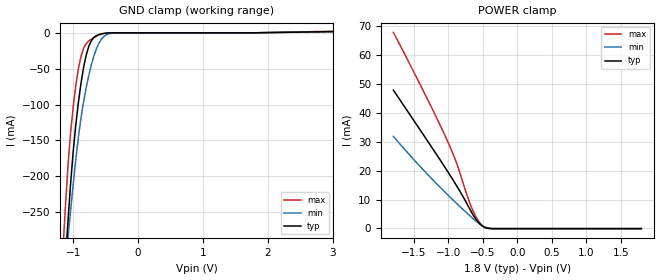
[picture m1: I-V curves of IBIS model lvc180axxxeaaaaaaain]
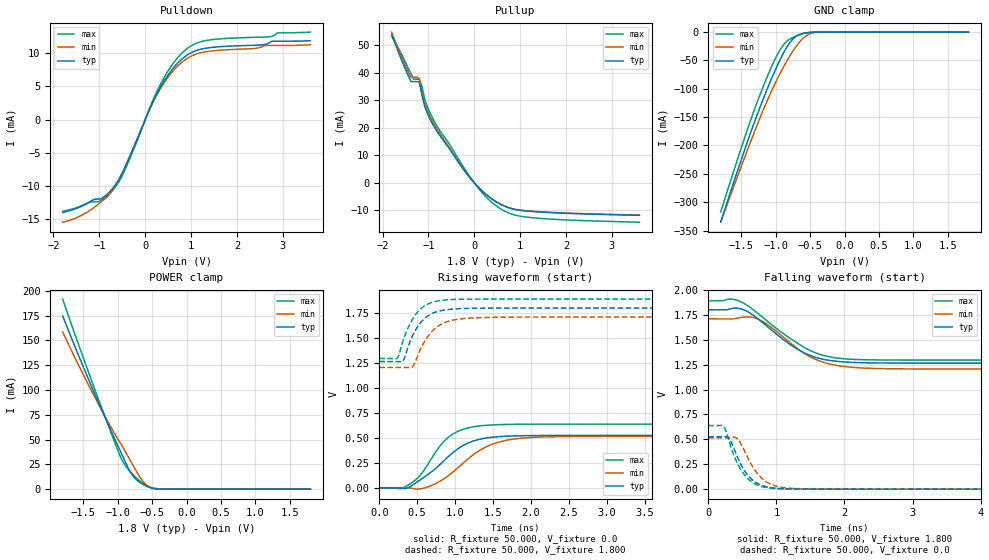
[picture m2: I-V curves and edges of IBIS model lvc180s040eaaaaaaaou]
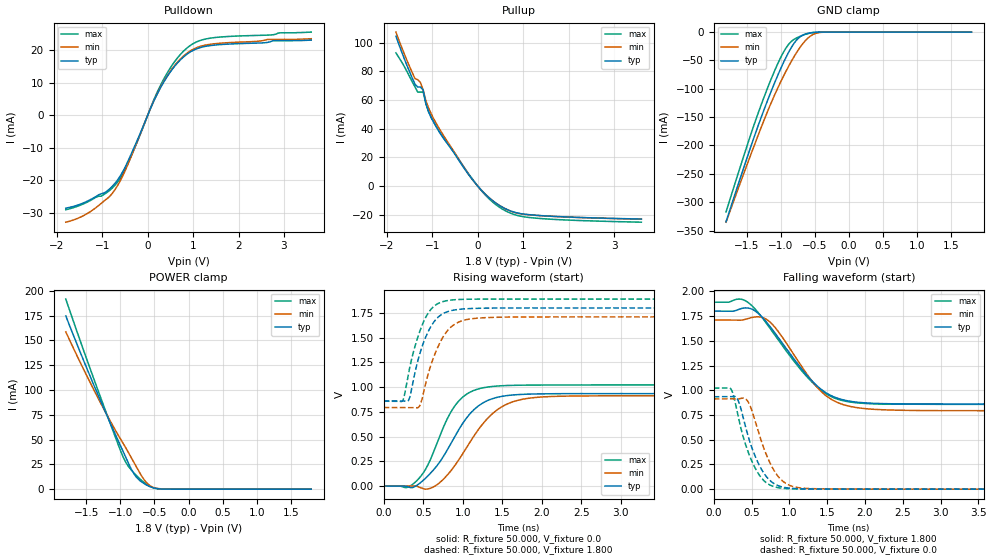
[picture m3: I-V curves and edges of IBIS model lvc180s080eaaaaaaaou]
| IBIS Models Generator: Lattice Diamond (64-bit) 3.14.0.75.2
| Generate date: Fri Feb 06 05:13:00 2026
| IBIS File
| Lattice Semiconductor Corporation
[IBIS ver]   4.2
[File Name]   AICAM_impl1.ibs
[File Rev]   2.9
[Date]   Thu Jul 29 08:12:20 PDT 2021
[Source]   Lattice Semiconductor umc40lp Process
   LFE5U-25F   FINAL
   Lattice Semiconductor has worked hard to ensure the
   models below are accurate and complete.  However, the
   data below was generated using simulation of the
   input/output model files for the silicon.  Therefore,
   the data below is for reference and initial design
   purposes only.
   Lattice Semiconductor grants permission to use this
   data for use in printed circuit design using this
   Lattice programmable logic device.  Other use of this
   code, including the selling or duplication of any
   portion is strictly prohibited.
|   NAMING CONVENTION
   The IBIS [Model] header is limited by the specification to a
   total of characters.  With such a set of characters available
   for naming models it becomes important to attempt to
   meaningfully encode the IO standards so they fit within the
   twenty character limit.  It would seem that twenty characters
   would provide room enough for describing IO's.  However, the
   PLD IO structure continues to grow more and more complex.  The
   complexity is making the twenty characters insuffiently
   descriptive.  In order to overcome this issue the naming
   convention described below is implemented to resolve the issue.
The twenty character space is managed as follows:
   bbbvvvsdddprttaaoixx
   b = standard
   v = voltage (x.xx V)
   s = slew code
   d = drive (xx.x ma)
   p = pullmode code
   r = impedance
   t = termination code
   o = diff resistor code
   i = diff  current code
   x = reserved
   standard
   LVCMOS   lvc
   lvcmosd   lvd
   LVDS25e   lve
   LVTTL   lvt
   lvttld   ltd
   sstl_I   ss1
   sstl_II   ss2
   sstld_I   s1d
   sstld_II   s2d
   hsul12   hs1
   hsul12d   h1d
   lvds   lvs
   blvds25   blv
   blvds25e   blv
   mlvds   mlv
   mlvds25e   mle
   lvpecl33   lvp
   lvpecl33e   lvp
   sublvds   slv
   slvs   svs
   slvs15e   sve
   mipi   mip
   vref1   vr1
   slew
   na   a
   fast   f
   slow   s
   pullmode
   off   a
   clamp   e
   impedance
   off   a
   termination
   off   aa
   50   cc
   75   dd
   150   ee
   differential resistor
   off   a
   100   b
   differential current
   NA   a
   3.5   c
   Reserved   IO type
   in   input only
   ou   output
   io   I/O
   od   Open drain
   on   Inverting differential I/O
   (signal name only)
   op   Non-Inverting differential I/O
   (signal name only)
   All the IO models are generated with pull mode set to none.
   Lattice Semiconductor Corporation
   5555 NE Moore Court
   Hillsboro, OR 97214
   U.S.A
   TEL: 1-800-Lattice (USA and Canada)
   408-826-6000 (other locations)
   web: http://www.latticesemi.com/
   email: techsupport@latticesemi.com
The IBIS models by default includes the worst case package data
under [package].  If detailed package model is required , it can be
enable using [package model] keyword.
The .pkg files are included in the zip file with the IBIS models.
The .pkg file has to be located in the same directory as IBIS file.
[Disclaimer] This IBIS source code is intended as a design reference
   which illustrates how the Lattice Semiconductor device operates.
   It is the user's responsibility to verify their design for
   consistency and functionality through the use of formal
   verification methods.  Lattice Semiconductor provides no warranty
   regarding the use or functionality of this data.
[Copyright]   Copyright 2007 by Lattice Semiconductor Corporation
|   Component SAPPHIRE
[Component]   SAPPHIRE
[Manufacturer]   Lattice Semiconductor Corp.
[Package]
|CABGA256
| variable   typ   min   max
R_pkg   301.88m   168.88m   475.12m
L_pkg   4.862nH   2.153nH   8.583nH
C_pkg   0.654pF   0.3926pF   1.017pF
[Pin]  signal_name   model_name   R_pin   L_pin   C_pin
T4   SD_A[1]   lvc330s080eaaaaaaaou
T3   SD_A[2]   lvc330s080eaaaaaaaou
T2   SD_A[3]   lvc330s080eaaaaaaaou
R1   SSPI_CS_n   lvc330axxxeaaaaaaain
M1   CRYSTAL   lvc330axxxeaaaaaaain
J2   ESP_D[7]   lvc330s080eaaaaaaaou
J1   ESP_D[6]   lvc330s080eaaaaaaaou
G1   ESP_D[5]   lvc330s080eaaaaaaaou
G2   ESP_D[4]   lvc330s080eaaaaaaaou
E1   ESP_D[1]   lvc330s080eaaaaaaaou
F2   ESP_D[2]   lvc330s080eaaaaaaaou
E2   ESP_D[0]   lvc330s080eaaaaaaaou
F3   ESP_D[3]   lvc330s080eaaaaaaaou
B2   M_D0   lvc330s080eaaaaaaaio
B1   M_D1   lvc330s080eaaaaaaaou
A2   SD_A[4]   lvc330s080eaaaaaaaou
T6   SD_A[0]   lvc330s080aaaaaaaaod
A3   SD_A[5]   lvc330s080eaaaaaaaou
A4   SD_A[6]   lvc330s080eaaaaaaaou
T7   SD_A[10]   lvc330s080aaaaaaaaod
B4   M_CMD   lvc330s080eaaaaaaaou
T8   DIN   lvc330axxxaaaaaaaain
B5   M_D3   lvc330s080eaaaaaaaou
M8   DOUT   lvc330s080aaaaaaaaod
A5   SD_A[7]   lvc330s080eaaaaaaaou
A6   SD_A[8]   lvc330s080eaaaaaaaou
B6   M_D2   lvc330s080eaaaaaaaou
C7   M_CLK   lvc330s080eaaaaaaaou
B7   SD_A[12]   lvc330s080eaaaaaaaou
A7   SD_A[9]   lvc330s080eaaaaaaaou
A8   SD_A[11]   lvc330s080eaaaaaaaou
C8   PCLK   lvc180axxxeaaaaaaain
B9   cam_sda   lvc180s040eaaaaaaaou
A10   cam_scl   lvc180s040eaaaaaaaou
B10   VSYNC   lvc180axxxeaaaaaaain
B11   Y9   lvc180axxxeaaaaaaain
A11   HREF   lvc180axxxeaaaaaaain
A12   MCLK   lvc180s080eaaaaaaaou
B12   Y8   lvc180axxxeaaaaaaain
C12   Y3   lvc180axxxeaaaaaaain
C13   Y4   lvc180axxxeaaaaaaain
A13   Y7   lvc180axxxeaaaaaaain
A14   Y6   lvc180axxxeaaaaaaain
B14   Y2   lvc180axxxeaaaaaaain
A15   Y5   lvc180axxxeaaaaaaain
T14   SD_RAS_N   lvc330s080eaaaaaaaou
R13   SD_CAS_N   lvc330s080eaaaaaaaou
T15   SD_DQM[0]   lvc330s080eaaaaaaaou
R15   SD_CS_N   lvc330s080eaaaaaaaou
N13   SD_WE_N   lvc330s080eaaaaaaaou
R16   SD_DQ[6]   lvc330s080eaaaaaaaou
P16   SD_DQ[5]   lvc330s080eaaaaaaaou
M14   SD_DQ[4]   lvc330s080eaaaaaaaou
L12   SD_BA[1]   lvc330s080eaaaaaaaou
K12   SD_BA[0]   lvc330s080eaaaaaaaou
M15   SD_DQ[3]   lvc330s080eaaaaaaaou
M16   SD_DQ[1]   lvc330s080eaaaaaaaou
L15   SD_DQ[0]   lvc330s080eaaaaaaaou
K16   SD_DQ[2]   lvc330s080eaaaaaaaou
J15   SD_CLK   lvc330s080eaaaaaaaou
J16   SD_DQ[7]   lvc330s080eaaaaaaaou
J14   CCLK   lvc330axxxeaaaaaaain
H15   SD_DQ[15]   lvc330s080eaaaaaaaou
G16   SD_DQ[14]   lvc330s080eaaaaaaaou
G15   SD_DQ[13]   lvc330s080eaaaaaaaou
F16   SD_DQ[12]   lvc330s080eaaaaaaaou
E16   SD_DQ[10]   lvc330s080eaaaaaaaou
F15   SD_DQ[11]   lvc330s080eaaaaaaaou
E15   SD_DQ[9]   lvc330s080eaaaaaaaou
D16   SD_DQ[8]   lvc330s080eaaaaaaaou
D14   SD_DQM[1]   lvc330s080eaaaaaaaou
| Models and submodels in the file (8): lvc180axxxeaaaaaaain (Input), lvc180s040eaaaaaaaou (Output), lvc180s080eaaaaaaaou (Output), lvc330axxxaaaaaaaain (Input), lvc330axxxeaaaaaaain (Input), lvc330s080aaaaaaaaod (I/O_open_drain), lvc330s080eaaaaaaaio (I/O), lvc330s080eaaaaaaaou (Output)
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[Model] lvc180axxxeaaaaaaain
Model_type Input
Polarity   Non-Inverting
Vinl =  0.630V
Vinh =  1.170V
C_comp   3.891pF   3.882pF   3.928pF
[Temperature Range]   25.000   0.125k   -40.000
[Voltage Range]   1.800V   1.710V   1.890V
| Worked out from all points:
|   GND clamp passes 1 mA (typ) near -0.54 V on its own axis
|   POWER clamp passes 1 mA (typ) near -0.52 V on its own axis
[GND_clamp]
|Voltage   I(typ)   I(min)   I(max)
-1.8V     -1.552A    -1.161A    -1.853A
-1.16V    -376.9mA   -366.7mA   -307.7mA
-1.12V    -318.4mA   -325.8mA   -243.6mA
-1.08V    -262.9mA   -286.3mA   -185.9mA
-1.04V    -211.3mA   -248.3mA   -139.7mA
-1V       -166.1mA   -212mA     -103.7mA
-920mV    -97.66mA   -146.3mA   -50.31mA
-800mV    -31.37mA   -76.92mA   -15.22mA
-640mV    -3.861mA   -21.85mA   -4.555mA
-520mV    -690.7uA   -4.491mA   -828.9uA
-360mV    -16.03uA   -175uA     -13.11uA
3.6V      2.526mA    2.22mA     3.258mA
[POWER_clamp]
|Voltage   I(typ)   I(min)   I(max)
-1.8V     47.74mA    31.79mA    67.67mA
-1.36V    32.18mA    20.08mA    47.22mA
-1.04V    20.68mA    12.29mA    31.5mA
-960mV    17.7mA     10.42mA    27.2mA
-880mV    14.64mA    8.593mA    22.43mA
-760mV    9.771mA    5.916mA    13.53mA
-680mV    6.223mA    4.193mA    8.149mA
-600mV    3.116mA    2.552mA    3.955mA
-520mV    1.025mA    1.118mA    1.22mA
-440mV    111.2uA    242.6uA    120.1uA
-360mV    -56.43uA   -21.93uA   -31.74uA
1.8V      -59.26uA   -47.56uA   -33.41uA
[Model] lvc180s040eaaaaaaaou
Model_type  Output
Polarity   Non-Inverting
Enable   Active-Low
Vmeas =  0.900V
Cref =  0.0F
Rref =  1.000M
Vref =  0.0V
C_comp   5.000pF   4.000pF   5.500pF
[Temperature Range]   25.000   0.125k   -40.000
[Voltage Range]   1.800V   1.710V   1.890V
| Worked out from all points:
|   slope of the pulldown table from 0 to 0.27 V, typ, clamps not added: 65.7 ohm
|   slope of the pullup table from 0 to 0.27 V, typ, clamps not added: 60.6 ohm
|   GND clamp passes 1 mA (typ) near -0.54 V on its own axis
|   POWER clamp passes 1 mA (typ) near -0.49 V on its own axis
|   rising waveform, R_fixture 50.000, V_fixture 0.0: 20-80 % time 509ps typ, 539ps min, 377ps max; typ from 0 V to 0.525 V
|   rising waveform, R_fixture 50.000, V_fixture 1.800: 20-80 % time 230ps typ, 260ps min, 228ps max; typ from 1.26 V to 1.8 V
|   falling waveform, R_fixture 50.000, V_fixture 1.800: 20-80 % time 637ps typ, 609ps min, 716ps max; typ from 1.8 V to 1.26 V
|   falling waveform, R_fixture 50.000, V_fixture 0.0: 20-80 % time 259ps typ, 284ps min, 258ps max; typ from 0.525 V to 0 V
[Pulldown]
|Voltage   I(typ)   I(min)   I(max)
-1.8V     -13.87mA   -15.5mA    -14.05mA
-1.2V     -12.39mA   -13.7mA    -12.46mA
-1.02V    -12.02mA   -12.76mA   -12.43mA
-840mV    -11.35mA   -11.76mA   -11.57mA
-660mV    -9.94mA    -10.14mA   -10.28mA
-420mV    -6.892mA   -6.861mA   -7.26mA
240mV     3.719mA    3.535mA    4.043mA
540mV     7.135mA    6.775mA    7.808mA
840mV     9.359mA    8.879mA    10.3mA
1.08V     10.34mA    9.814mA    11.42mA
1.38V     10.83mA    10.3mA     12mA
3.6V      11.91mA    11.29mA    13.21mA
[Pullup]
|Voltage   I(typ)   I(min)   I(max)
-1.8V     54.03mA    54.83mA    53.25mA
-1.38V    36.79mA    38.42mA    39.74mA
-1.32V    36.79mA    38.42mA    37.67mA
-1.2V     36.79mA    38.06mA    37.67mA
-1.14V    31.86mA    32.3mA     35.11mA
-1.08V    27.81mA    28.79mA    30.3mA
-840mV    19.42mA    20.31mA    21.38mA
-120mV    2.406mA    2.383mA    2.868mA
360mV     -5.638mA   -5.554mA   -6.804mA
720mV     -8.906mA   -8.849mA   -10.75mA
1.08V     -10.17mA   -10.11mA   -12.35mA
3.6V      -11.82mA   -11.74mA   -14.33mA
[GND_clamp]
|Voltage   I(typ)   I(min)   I(max)
-1.8V     -334.4mA   -335.3mA   -317.1mA
-1.4V     -189.3mA   -204.4mA   -167.3mA
-1.28V    -148.9mA   -166.7mA   -126.7mA
-1.12V    -99.04mA   -119.7mA   -77.45mA
-1V       -64.9mA    -88.2mA    -45.18mA
-920mV    -44.4mA    -68.92mA   -27.88mA
-840mV    -26.71mA   -51.09mA   -16.18mA
-720mV    -8.754mA   -27.82mA   -7.821mA
-640mV    -3.53mA    -15.52mA   -4.188mA
-560mV    -1.27mA    -6.791mA   -1.597mA
-400mV    -49.63uA   -425.4uA   -44.12uA
1.8V      0A         0A         0A
[POWER_clamp]
|Voltage   I(typ)   I(min)   I(max)
-1.8V     174.6mA    158.5mA    191.6mA
-1.36V    100.3mA    96.28mA    105.7mA
-1.12V    62.39mA    65.2mA     61.09mA
-960mV    38.11mA    46.28mA    32.52mA
-880mV    25.96mA    36.75mA    22.79mA
-800mV    15.45mA    26.86mA    16.3mA
-720mV    9.004mA    17.05mA    10.75mA
-640mV    5.132mA    8.487mA    6.134mA
-560mV    2.382mA    3.217mA    2.693mA
-520mV    1.425mA    1.849mA    1.506mA
-360mV    88.16uA    177.6uA    42.1uA
1.8V      0A         0A         0A
[Ramp]
| variable   typ   min   max
dV/dt_r 0.292/0.518n   0.287/0.553n   0.355/0.379n
dV/dt_f 0.321/0.642n   0.302/0.625n   0.357/0.729n
R_load = 50.000
[Rising Waveform]
R_fixture= 50.000
V_fixture= 0.0
V_fixture_min= 0.0
V_fixture_max= 0.0
|time   V(typ)   V(min)   V(max)
0s        0V         0V         0V
345ps     -8.379mV   -388.8uV   12.9mV
513ps     65.64mV    -13.1mV    104.1mV
658ps     142.5mV    14.11mV    256.3mV
811ps     240.3mV    70.7mV     428.8mV
961ps     346.6mV    150.9mV    533.7mV
1.387ns   496mV      401.5mV    624.9mV
1.737ns   519.2mV    484.4mV    635.6mV
2.316ns   524.6mV    512.5mV    637.9mV
10ns      525.1mV    515.9mV    638mV
[Rising Waveform]
R_fixture= 50.000
V_fixture= 1.800
V_fixture_min= 1.710
V_fixture_max= 1.890
|time   V(typ)   V(min)   V(max)
0s        1.265V     1.206V     1.295V
240ps     1.264V     1.206V     1.3V
319ps     1.277V     1.206V     1.485V
433ps     1.514V     1.21V      1.682V
534ps     1.645V     1.373V     1.783V
648ps     1.725V     1.524V     1.843V
755ps     1.763V     1.607V     1.869V
884ps     1.783V     1.661V     1.882V
1.66ns    1.8V       1.709V     1.89V
10ns      1.8V       1.71V      1.89V
[Falling Waveform]
R_fixture= 50.000
V_fixture= 1.800
V_fixture_min= 1.710
V_fixture_max= 1.890
|time   V(typ)   V(min)   V(max)
0s        1.8V       1.71V      1.89V
394ps     1.817V     1.713V     1.902V
538ps     1.795V     1.728V     1.859V
708ps     1.721V     1.713V     1.776V
894ps     1.617V     1.64V      1.671V
1.384ns   1.377V     1.375V     1.433V
1.649ns   1.31V      1.283V     1.35V
1.978ns   1.278V     1.233V     1.31V
2.944ns   1.265V     1.207V     1.296V
10ns      1.265V     1.206V     1.295V
[Falling Waveform]
R_fixture= 50.000
V_fixture= 0.0
V_fixture_min= 0.0
V_fixture_max= 0.0
|time   V(typ)   V(min)   V(max)
0s        525.1mV    515.9mV    638mV
225ps     525.4mV    515.9mV    629mV
313ps     502.5mV    516.1mV    465.2mV
419ps     335.5mV    510.7mV    270.4mV
523ps     194.9mV    396.5mV    151.5mV
638ps     99.04mV    239.3mV    72.61mV
774ps     40.63mV    116.7mV    27.74mV
934ps     13.62mV    44.73mV    8.764mV
1.654ns   554.5uV    1.396mV    587.1uV
10ns      0V         0V         0V
[Model] lvc180s080eaaaaaaaou
Model_type  Output
Polarity   Non-Inverting
Enable   Active-Low
Vmeas =  0.900V
Cref =  0.0F
Rref =  1.000M
Vref =  0.0V
C_comp   5.000pF   4.000pF   5.500pF
[Temperature Range]   25.000   0.125k   -40.000
[Voltage Range]   1.800V   1.710V   1.890V
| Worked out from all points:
|   slope of the pulldown table from 0 to 0.27 V, typ, clamps not added: 33.1 ohm
|   slope of the pullup table from 0 to 0.27 V, typ, clamps not added: 31.2 ohm
|   GND clamp passes 1 mA (typ) near -0.54 V on its own axis
|   POWER clamp passes 1 mA (typ) near -0.49 V on its own axis
|   rising waveform, R_fixture 50.000, V_fixture 0.0: 20-80 % time 456ps typ, 496ps min, 353ps max; typ from 0 V to 0.934 V
|   rising waveform, R_fixture 50.000, V_fixture 1.800: 20-80 % time 226ps typ, 253ps min, 221ps max; typ from 0.86 V to 1.8 V
|   falling waveform, R_fixture 50.000, V_fixture 1.800: 20-80 % time 584ps typ, 520ps min, 635ps max; typ from 1.8 V to 0.86 V
|   falling waveform, R_fixture 50.000, V_fixture 0.0: 20-80 % time 260ps typ, 271ps min, 254ps max; typ from 0.934 V to 0 V
[Pulldown]
|Voltage   I(typ)   I(min)   I(max)
-1.8V     -28.53mA   -32.84mA   -29.01mA
-1.2V     -25.46mA   -29.03mA   -25.7mA
-900mV    -23.35mA   -25.68mA   -23.75mA
-660mV    -19.84mA   -21.55mA   -20.51mA
-420mV    -13.7mA    -14.59mA   -14.42mA
60mV      2.026mA    2.064mA    2.192mA
240mV     7.384mA    7.52mA     8.023mA
540mV     14.17mA    14.41mA    15.5mA
840mV     18.59mA    18.89mA    20.45mA
1.08V     20.52mA    20.88mA    22.66mA
1.44V     21.61mA    22.02mA    23.91mA
3.6V      23.2mA     23.62mA    25.66mA
[Pullup]
|Voltage   I(typ)   I(min)   I(max)
-1.8V     104.4mA    107.3mA    92.82mA
-1.38V    70.9mA     74.87mA    69.09mA
-1.26V    68.99mA    72.12mA    65.48mA
-1.2V     66.93mA    66.81mA    65.48mA
-1.14V    57.38mA    59.48mA    57.36mA
-1.08V    51.83mA    54.35mA    51.48mA
-900mV    40.67mA    42.94mA    40.69mA
-180mV    7.161mA    7.234mA    7.646mA
360mV     -10.95mA   -10.92mA   -11.94mA
720mV     -17.31mA   -17.4mA    -18.86mA
1.08V     -19.76mA   -19.89mA   -21.68mA
3.6V      -22.97mA   -23.08mA   -25.16mA
[GND_clamp]
|Voltage   I(typ)   I(min)   I(max)
-1.8V     -334.4mA   -335.3mA   -317.1mA
-1.4V     -189.3mA   -204.4mA   -167.3mA
-1.28V    -148.9mA   -166.7mA   -126.7mA
-1.12V    -99.04mA   -119.7mA   -77.45mA
-1V       -64.9mA    -88.2mA    -45.18mA
-920mV    -44.4mA    -68.92mA   -27.88mA
-840mV    -26.71mA   -51.09mA   -16.18mA
-720mV    -8.754mA   -27.82mA   -7.821mA
-640mV    -3.53mA    -15.52mA   -4.188mA
-560mV    -1.27mA    -6.791mA   -1.597mA
-400mV    -49.63uA   -425.4uA   -44.12uA
1.8V      0A         0A         0A
[POWER_clamp]
|Voltage   I(typ)   I(min)   I(max)
-1.8V     174.6mA    158.5mA    191.6mA
-1.36V    100.3mA    96.28mA    105.7mA
-1.12V    62.39mA    65.2mA     61.09mA
-960mV    38.11mA    46.28mA    32.52mA
-880mV    25.96mA    36.75mA    22.79mA
-800mV    15.45mA    26.86mA    16.3mA
-720mV    9.004mA    17.05mA    10.75mA
-640mV    5.132mA    8.487mA    6.134mA
-560mV    2.382mA    3.217mA    2.693mA
-520mV    1.425mA    1.849mA    1.506mA
-360mV    88.16uA    177.6uA    42.1uA
1.8V      0A         0A         0A
[Ramp]
| variable   typ   min   max
dV/dt_r 0.561/0.465n   0.547/0.507n   0.613/0.354n
dV/dt_f 0.564/0.599n   0.550/0.531n   0.620/0.643n
R_load = 50.000
[Rising Waveform]
R_fixture= 50.000
V_fixture= 0.0
V_fixture_min= 0.0
V_fixture_max= 0.0
|time   V(typ)   V(min)   V(max)
0s        0V         0V         0V
373ps     -13.84mV   -622.3uV   20.67mV
525ps     75.33mV    -31.78mV   162.8mV
658ps     189mV      3.753mV    397.8mV
949ps     569mV      263.7mV    858.7mV
1.127ns   760mV      487.9mV    961.8mV
1.329ns   869.1mV    695.7mV    1.002V
1.657ns   922mV      857.5mV    1.018V
2.172ns   933mV      906.4mV    1.021V
10ns      934.5mV    912.4mV    1.022V
[Rising Waveform]
R_fixture= 50.000
V_fixture= 1.800
V_fixture_min= 1.710
V_fixture_max= 1.890
|time   V(typ)   V(min)   V(max)
0s        860mV      793.1mV    857.1mV
241ps     859.4mV    793.1mV    862.2mV
321ps     875.9mV    792.7mV    1.165V
449ps     1.314V     802.6mV    1.545V
623ps     1.645V     1.282V     1.807V
729ps     1.732V     1.476V     1.859V
832ps     1.769V     1.592V     1.878V
1.049ns   1.792V     1.682V     1.888V
1.529ns   1.8V       1.707V     1.89V
10ns      1.8V       1.71V      1.89V
[Falling Waveform]
R_fixture= 50.000
V_fixture= 1.800
V_fixture_min= 1.710
V_fixture_max= 1.890
|time   V(typ)   V(min)   V(max)
0s        1.8V       1.71V      1.89V
396ps     1.831V     1.713V     1.913V
536ps     1.807V     1.74V      1.83V
700ps     1.686V     1.715V     1.673V
860ps     1.526V     1.587V     1.502V
1.345ns   1.059V     1.05V      1.049V
1.56ns    943.1mV    906mV      933.6mV
1.821ns   886.5mV    834mV      879.1mV
2.852ns   860.5mV    794.4mV    857.5mV
10ns      860mV      793.1mV    857.1mV
[Falling Waveform]
R_fixture= 50.000
V_fixture= 0.0
V_fixture_min= 0.0
V_fixture_max= 0.0
|time   V(typ)   V(min)   V(max)
0s        934.5mV    912.4mV    1.022V
232ps     934.8mV    912.4mV    1.007V
321ps     899.4mV    912.1mV    740.2mV
438ps     579.8mV    900.2mV    412.2mV
642ps     186.2mV    457.6mV    103.3mV
760ps     76.64mV    240.2mV    35.79mV
879ps     28.1mV     104.9mV    11.78mV
1.06ns    6.621mV    24.3mV     3.046mV
1.428ns   1.58mV     3.197mV    1.122mV
10ns      0V         0V         0V
